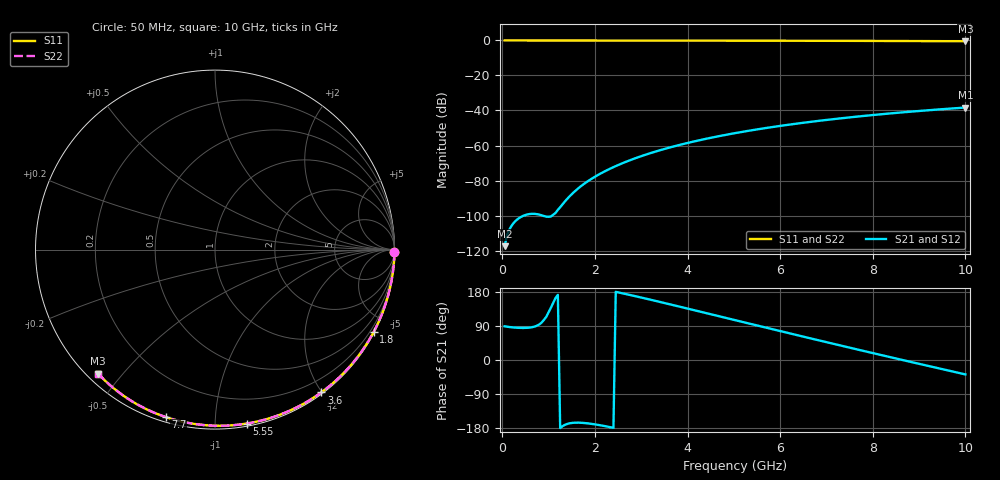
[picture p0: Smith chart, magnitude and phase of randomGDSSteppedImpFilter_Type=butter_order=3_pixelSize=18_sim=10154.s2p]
! freq	dB(S11)	phase(S11)	dB(S12)	phase(S12)
!  dB(S21)	phase(S21)	dB(S22)	phase(S22)
!S-par simulation data
#  GHz  S  DB  R 50
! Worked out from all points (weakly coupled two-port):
!   200 points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, 50 MHz to 10 GHz, reference 50 ohm
!   highest |S21| = -38.31 dB at 10 GHz (marker M1); lowest = -117.5 dB at 50 MHz (marker M2)
!   lowest |S11| = -0.5 dB at 10 GHz (marker M3), VSWR 38.54, Z = 1.54 - j21.6 ohm
!   |S11| at or under -10 dB: nowhere
!   |S22| runs from -0.5 to 0.0 dB; largest |S21 - S12| = 0
!   S11 on the Smith chart (normalised r, x): 50 MHz: open; 1.8 GHz: 0.04, -4.12; 3.6 GHz: 0.02, -1.99; 5.55 GHz: 0.02, -1.20; 7.7 GHz: 0.02, -0.75; 10 GHz: 0.03, -0.43
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0.05  -0.00 -0.8  -117.50 88.9  -117.50 88.9  -0.00 -0.8
0.9  -0.02 -13.8  -100.30 105.9  -100.30 105.9  -0.02 -13.8
1.75  -0.03 -26.5  -82.21 -166.0  -82.21 -166.0  -0.03 -26.5
1.8  -0.03 -27.3  -81.26 -166.6  -81.26 -166.6  -0.03 -27.3
1.85  -0.04 -28.0  -80.35 -167.3  -80.35 -167.3  -0.04 -28.0
1.9  -0.04 -28.8  -79.48 -168.0  -79.48 -168.0  -0.04 -28.8
2.05  -0.04 -31.0  -77.07 -170.8  -77.07 -170.8  -0.04 -31.0
2.25  -0.04 -33.9  -74.24 -175.3  -74.24 -175.3  -0.04 -33.9
2.45  -0.05 -36.9  -71.74 179.8  -71.74 179.8  -0.05 -36.9
2.65  -0.05 -39.8  -69.51 174.5  -69.51 174.5  -0.05 -39.8
3  -0.06 -44.8  -66.08 164.9  -66.08 164.9  -0.06 -44.8
3.4  -0.07 -50.5  -62.74 153.4  -62.74 153.4  -0.07 -50.5
3.6  -0.07 -53.3  -61.24 147.5  -61.24 147.5  -0.07 -53.3
4.3  -0.09 -63.0  -56.73 126.8  -56.73 126.8  -0.09 -63.0
5.05  -0.11 -73.1  -52.82 104.5  -52.82 104.5  -0.11 -73.1
5.55  -0.13 -79.7  -50.59 89.7  -50.59 89.7  -0.13 -79.7
6.1  -0.15 -86.7  -48.43 73.4  -48.43 73.4  -0.15 -86.7
6.7  -0.18 -94.3  -46.34 55.8  -46.34 55.8  -0.18 -94.3
7.7  -0.24 -106.4  -43.38 26.8  -43.38 26.8  -0.24 -106.4
8.35  -0.29 -114.2  -41.74 8.2  -41.74 8.2  -0.29 -114.2
9.15  -0.36 -123.5  -39.95 -14.3  -39.95 -14.3  -0.36 -123.5
10  -0.45 -133.3  -38.31 -38.1  -38.31 -38.1  -0.45 -133.3
